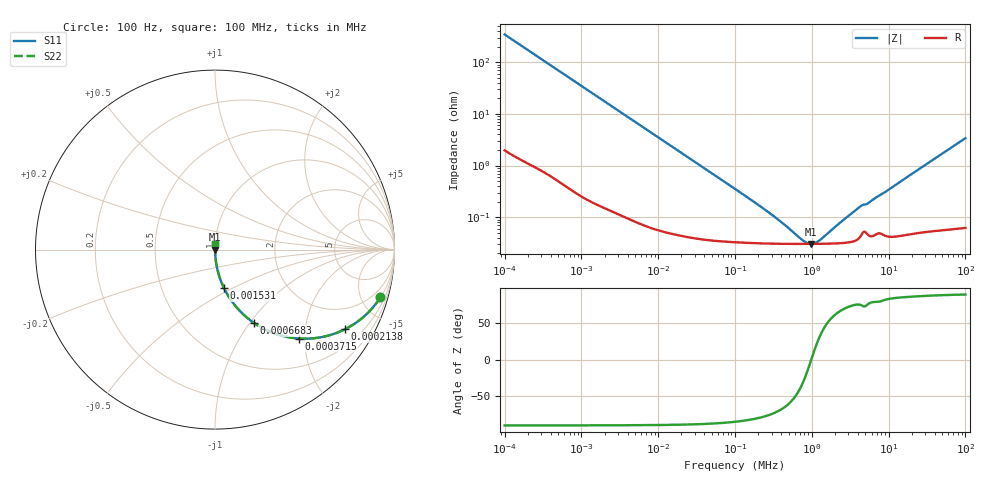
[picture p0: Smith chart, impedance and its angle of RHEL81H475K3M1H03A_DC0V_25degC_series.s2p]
!Murata Part Number: RHEL81H475K3M1H03A
!These Parameters are Measured in Series Mode Connection
!  o--ll--o
!Port1  Port2
!  o------o
!Operation Temp=25[degC], DC Bias Voltage=0[V]
!Freq. Start=100[Hz] Stop=100[MHz], 401[Steps]
!Data Generated on Jun 29, 2020
# Hz S RI R 50
!Freq.(Hz) S11(Real) S11(Imag) S21(Real) S21(Imag) S12(Real) S12(Imag) S22(Real) S22(Imag)
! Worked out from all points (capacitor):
!   401 points, 100 Hz to 100 MHz, reference 50 ohm
!   read as one part in series: C = 4.6 uF near 107.2 Hz
!   lowest |Z| = 30.4 mohm at 977.2 kHz (marker M1)
!   series resonance near 983.3 kHz, so ESL is about 5.7 nH
!   S11 on the Smith chart (normalised r, x): 100 Hz: 1.04, -6.91; 213.8 Hz: 1.02, -3.24; 371.5 Hz: 1.01, -1.87; 668.3 Hz: 1.01, -1.04; 1.531 kHz: 1.00, -0.46; 100 MHz: 1.00, +0.07
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100  0.9214 -0.2663  0.0786 0.2663  0.0786 0.2663  0.9214 -0.2663
146.2177  0.8468 -0.3572  0.1532 0.3572  0.1532 0.3572  0.8468 -0.3572
213.7962  0.7227 -0.4445  0.2773 0.4445  0.2773 0.4445  0.7227 -0.4445
281.8383  0.6014 -0.4862  0.3986 0.4862  0.3986 0.4862  0.6014 -0.4862
371.5352  0.4663 -0.4953  0.5337 0.4953  0.5337 0.4953  0.4663 -0.4953
489.7788  0.3361 -0.4688  0.6639 0.4688  0.6639 0.4688  0.3361 -0.4688
668.3439  0.2151 -0.4073  0.7849 0.4073  0.7849 0.4073  0.2151 -0.4073
1011.579  0.1079 -0.3067  0.8921 0.3067  0.8921 0.3067  0.1079 -0.3067
1531.087  0.051 -0.216  0.949 0.216  0.949 0.216  0.051 -0.216
3507.519  0.0109 -0.0987  0.9891 0.0987  0.9891 0.0987  0.0109 -0.0987
10232.93  0.00173 -0.0343  0.9983 0.0343  0.9983 0.0343  0.00173 -0.0343
100000  0.00034 -0.00352  0.9997 0.00352  0.9997 0.00352  0.00034 -0.00352
312607.9  0.000308 -0.00103  0.9997 0.00103  0.9997 0.00103  0.000308 -0.00103
767361.5  0.000304 -0.000183  0.9997 0.000183  0.9997 0.000183  0.000304 -0.000183
881048.9  0.000304 -8.02e-05  0.9997 8.02e-05  0.9997 8.02e-05  0.000304 -8.02e-05
977237.2  0.000304 -4.44e-06  0.9997 4.44e-06  0.9997 4.44e-06  0.000304 -4.44e-06
1011579  0.000304 2.08e-05  0.9997 -2.08e-05  0.9997 -2.08e-05  0.000304 2.08e-05
1288250  0.000305 0.0002  0.9997 -0.0002  0.9997 -0.0002  0.000305 0.0002
4315191  0.00043 0.00157  0.9996 -0.00157  0.9996 -0.00157  0.00043 0.00157
5495409  0.000446 0.00184  0.9996 -0.00184  0.9996 -0.00184  0.000446 0.00184
1.023293e7  0.00043 0.00347  0.9996 -0.00347  0.9996 -0.00347  0.00043 0.00347
1e8  0.00177 0.0338  0.9982 -0.0338  0.9982 -0.0338  0.00177 0.0338
